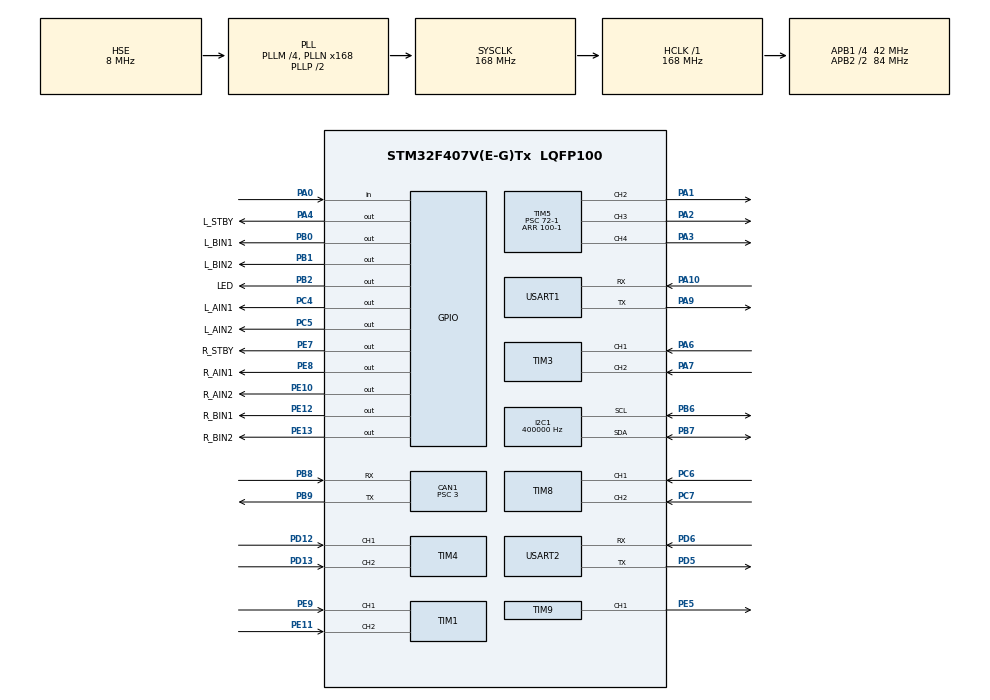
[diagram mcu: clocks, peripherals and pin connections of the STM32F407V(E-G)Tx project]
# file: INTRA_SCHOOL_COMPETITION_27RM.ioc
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CAN1.BS1=CAN_BS1_11TQ
CAN1.BS2=CAN_BS2_2TQ
CAN1.CalculateBaudRate=1000000
CAN1.CalculateTimeBit=1000
CAN1.CalculateTimeQuantum=71.42857142857143
CAN1.Prescaler=3
I2C1.ClockSpeed=400000
I2C1.I2C_Mode=I2C_Fast
I2C1.NoStretchMode=I2C_NOSTRETCH_DISABLE
Mcu.Family=STM32F4
Mcu.Name=STM32F407V(E-G)Tx
Mcu.Package=LQFP100
NVIC.CAN1_RX0_IRQn=true\:0\:0\:false\:false\:true\:true\:true\:true
NVIC.PriorityGroup=NVIC_PRIORITYGROUP_4
NVIC.USART1_IRQn=true\:7\:0\:true\:false\:true\:true\:true\:true
NVIC.USART2_IRQn=true\:6\:0\:true\:false\:true\:true\:true\:true
PA0-WKUP.Signal=GPIO_Input
PA1.Signal=S_TIM5_CH2
PA10.Mode=Asynchronous
PA10.Signal=USART1_RX
PA13.Mode=Serial_Wire
PA13.Signal=SYS_JTMS-SWDIO
PA14.Mode=Serial_Wire
PA14.Signal=SYS_JTCK-SWCLK
PA2.Signal=S_TIM5_CH3
PA3.Signal=S_TIM5_CH4
PA4.GPIO_Label=L_STBY
PA4.GPIO_Speed=GPIO_SPEED_FREQ_MEDIUM
PA4.Signal=GPIO_Output
PA6.Signal=S_TIM3_CH1
PA7.Signal=S_TIM3_CH2
PA9.Mode=Asynchronous
PA9.Signal=USART1_TX
PB0.GPIO_Label=L_BIN1
PB0.GPIO_Speed=GPIO_SPEED_FREQ_MEDIUM
PB0.Signal=GPIO_Output
PB1.GPIO_Label=L_BIN2
PB1.GPIO_Speed=GPIO_SPEED_FREQ_MEDIUM
PB1.Signal=GPIO_Output
PB2.GPIO_Label=LED
PB2.Signal=GPIO_Output
PB6.Mode=I2C
PB6.Signal=I2C1_SCL
PB7.Mode=I2C
PB7.Signal=I2C1_SDA
PB8.Mode=CAN_Activate
PB8.Signal=CAN1_RX
PB9.Mode=CAN_Activate
PB9.Signal=CAN1_TX
PC14-OSC32_IN.Mode=LSE-External-Oscillator
PC14-OSC32_IN.Signal=RCC_OSC32_IN
PC15-OSC32_OUT.Mode=LSE-External-Oscillator
PC15-OSC32_OUT.Signal=RCC_OSC32_OUT
PC4.GPIO_Label=L_AIN1
PC4.GPIO_Speed=GPIO_SPEED_FREQ_MEDIUM
PC4.Signal=GPIO_Output
PC5.GPIO_Label=L_AIN2
PC5.GPIO_Speed=GPIO_SPEED_FREQ_MEDIUM
PC5.Signal=GPIO_Output
PC6.Signal=S_TIM8_CH1
PC7.Signal=S_TIM8_CH2
PD12.Signal=S_TIM4_CH1
PD13.Signal=S_TIM4_CH2
PD5.Mode=Asynchronous
PD5.Signal=USART2_TX
PD6.Mode=Asynchronous
PD6.Signal=USART2_RX
PE10.GPIO_Label=R_AIN2
PE10.GPIO_Speed=GPIO_SPEED_FREQ_MEDIUM
PE10.Signal=GPIO_Output
PE11.Signal=S_TIM1_CH2
PE12.GPIO_Label=R_BIN1
PE12.GPIO_Speed=GPIO_SPEED_FREQ_MEDIUM
PE12.Signal=GPIO_Output
PE13.GPIO_Label=R_BIN2
PE13.GPIO_Speed=GPIO_SPEED_FREQ_MEDIUM
PE13.Signal=GPIO_Output
PE5.Signal=S_TIM9_CH1
PE7.GPIO_Label=R_STBY
PE7.GPIO_Speed=GPIO_SPEED_FREQ_MEDIUM
PE7.Signal=GPIO_Output
PE8.GPIO_Label=R_AIN1
PE8.GPIO_PuPd=GPIO_NOPULL
PE8.GPIO_Speed=GPIO_SPEED_FREQ_MEDIUM
PE8.Signal=GPIO_Output
PE9.Signal=S_TIM1_CH1
PH0-OSC_IN.Mode=HSE-External-Oscillator
PH0-OSC_IN.Signal=RCC_OSC_IN
PH1-OSC_OUT.Mode=HSE-External-Oscillator
PH1-OSC_OUT.Signal=RCC_OSC_OUT
ProjectManager.HeapSize=0x200
ProjectManager.StackSize=0x400
ProjectManager.TargetToolchain=CMake
RCC.48MHZClocksFreq_Value=84000000
RCC.AHBFreq_Value=168000000
RCC.APB1CLKDivider=RCC_HCLK_DIV4
RCC.APB1Freq_Value=42000000
RCC.APB1TimFreq_Value=84000000
RCC.APB2CLKDivider=RCC_HCLK_DIV2
RCC.APB2Freq_Value=84000000
RCC.APB2TimFreq_Value=168000000
RCC.CortexFreq_Value=168000000
RCC.HCLKFreq_Value=168000000
RCC.HSE_VALUE=8000000
RCC.HSI_VALUE=16000000
RCC.PLLM=4
RCC.PLLN=168
RCC.PLLSourceVirtual=RCC_PLLSOURCE_HSE
RCC.SYSCLKFreq_VALUE=168000000
RCC.SYSCLKSource=RCC_SYSCLKSOURCE_PLLCLK
RCC.VCOOutputFreq_Value=336000000
SH.S_TIM1_CH1.0=TIM1_CH1,Encoder_Interface
SH.S_TIM1_CH2.0=TIM1_CH2,Encoder_Interface
SH.S_TIM3_CH1.0=TIM3_CH1,Encoder_Interface
SH.S_TIM3_CH2.0=TIM3_CH2,Encoder_Interface
SH.S_TIM4_CH1.0=TIM4_CH1,Encoder_Interface
SH.S_TIM4_CH2.0=TIM4_CH2,Encoder_Interface
SH.S_TIM5_CH2.0=TIM5_CH2,PWM Generation2 CH2
SH.S_TIM5_CH3.0=TIM5_CH3,PWM Generation3 CH3
SH.S_TIM5_CH4.0=TIM5_CH4,PWM Generation4 CH4
SH.S_TIM8_CH1.0=TIM8_CH1,Encoder_Interface
SH.S_TIM8_CH2.0=TIM8_CH2,Encoder_Interface
SH.S_TIM9_CH1.0=TIM9_CH1,PWM Generation1 CH1
TIM1.EncoderMode=TIM_ENCODERMODE_TI12
TIM3.EncoderMode=TIM_ENCODERMODE_TI12
TIM4.EncoderMode=TIM_ENCODERMODE_TI12
TIM5.Channel-PWM\ Generation2\ CH2=TIM_CHANNEL_2
TIM5.Channel-PWM\ Generation3\ CH3=TIM_CHANNEL_3
TIM5.Channel-PWM\ Generation4\ CH4=TIM_CHANNEL_4
TIM5.Period=100-1
TIM5.Prescaler=72-1
TIM8.EncoderMode=TIM_ENCODERMODE_TI12
TIM9.Channel-PWM\ Generation1\ CH1=TIM_CHANNEL_1
TIM9.Period=100-1
TIM9.Prescaler=168-1
USART1.VirtualMode=VM_ASYNC
USART2.VirtualMode=VM_ASYNC
VP_TIM5_VS_ClockSourceINT.Mode=Internal
VP_TIM9_VS_ClockSourceINT.Mode=Internal
board=custom

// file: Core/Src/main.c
/* USER CODE BEGIN Header */
/**
  ******************************************************************************
  * @file           : main.c
  * @brief          : Main program body
  ******************************************************************************
  * @attention
  *
  * Copyright (c) 2026 STMicroelectronics.
  * All rights reserved.
  *
  * This software is licensed under terms that can be found in the LICENSE file
  * in the root directory of this software component.
  * If no LICENSE file comes with this software, it is provided AS-IS.
  *
  ******************************************************************************
  */
/* USER CODE END Header */
#include "main.h"
#include "can.h"
#include "i2c.h"
#include "tim.h"
#include "usart.h"
#include "gpio.h"

/* USER CODE BEGIN Includes */
#include "chassis.h"
#include "chassis_config.h"
#include "chassis_demo.h"
#include "chassis_debug.h"
#include "chassis_tune.h"
#include "can_test.h"
#include "can_link.h"
#include "uart_link.h"
/* USER CODE END Includes */

void SystemClock_Config(void);

int main(void)
{

  /* MCU Configuration--------------------------------------------------------*/

  /* Reset of all peripherals, Initializes the Flash interface and the Systick. */
  HAL_Init();

  /* Configure the system clock */
  SystemClock_Config();

  /* Initialize all configured peripherals */
  MX_GPIO_Init();
  MX_TIM1_Init();
  MX_TIM3_Init();
  MX_TIM4_Init();
  MX_USART1_UART_Init();
  MX_I2C1_Init();
  MX_TIM9_Init();
  MX_USART2_UART_Init();
  MX_TIM5_Init();
  MX_TIM8_Init();
  MX_CAN1_Init();
  /* USER CODE BEGIN 2 */
  chassis_init();

  /* 上位机链路：Jetson -> USART2(PD5/PD6) -> 底盘
   * ⚠ 依赖 CubeMX 在 NVIC 里勾选 USART2 global interrupt，否则收不到数据 */
  uart_link_init();

  /* CAN 链路：两个模块都要初始化 CAN1，编译期互斥（见 can_link.c 顶部 #error）
   *   CAN_LINK_ENABLE = 1 -> 正式协议链路（联调期）
   *   CANTEST_ENABLE  = 1 -> can_test 调试工具（排障期）
   * 两个都关 = 整定期，CAN 完全不参与，不会污染 USART1 调参数据 */
#if CAN_LINK_ENABLE
  can_link_init();
#endif
#if CANTEST_ENABLE
  can_test_init();
#endif

#if CHASSIS_TUNE_ENABLE
  /* 整定模式：由 chassis_tune 接管四轮并回传实验数据 */
  chassis_tune_init();
#else
  // chassis_demo_init();
#endif

  /* USER CODE END 2 */

  /* Infinite loop */
  /* USER CODE BEGIN WHILE */
  while (1)
  {
    /* 1kHz 控制循环：chassis_poll() 内部检测 HAL tick，到点才执行一次 */
    chassis_poll();
    /* 上位机链路：收命令帧 -> 底盘；看门狗；100 Hz 回传反馈帧 */
    uart_link_poll();
#if CHASSIS_TUNE_ENABLE
    chassis_tune_poll();
#else
    chassis_debug_poll();
#if CHASSIS_DEMO_ENABLE
    chassis_demo_poll();
#endif
#endif
    /* USER CODE END WHILE */

    /* USER CODE BEGIN 3 */
    /* CAN 链路（编译期开关见 can_link_config.h / can_test_config.h） */
#if CAN_LINK_ENABLE
    can_link_poll();    /* 收命令 + 看门狗 + 100 Hz 反馈 */
#endif
#if CANTEST_ENABLE
    can_test_poll();    /* CAN 测试：心跳 + 点灯 + 回显 */
#endif
  }
  /* USER CODE END 3 */
}

void SystemClock_Config(void)
{
  RCC_OscInitTypeDef RCC_OscInitStruct = {0};
  RCC_ClkInitTypeDef RCC_ClkInitStruct = {0};

  /** Configure the main internal regulator output voltage
  */
  __HAL_RCC_PWR_CLK_ENABLE();
  __HAL_PWR_VOLTAGESCALING_CONFIG(PWR_REGULATOR_VOLTAGE_SCALE1);

  /** Initializes the RCC Oscillators according to the specified parameters
  * in the RCC_OscInitTypeDef structure.
  */
  RCC_OscInitStruct.OscillatorType = RCC_OSCILLATORTYPE_HSE;
  RCC_OscInitStruct.HSEState = RCC_HSE_ON;
  RCC_OscInitStruct.PLL.PLLState = RCC_PLL_ON;
  RCC_OscInitStruct.PLL.PLLSource = RCC_PLLSOURCE_HSE;
  RCC_OscInitStruct.PLL.PLLM = 4;
  RCC_OscInitStruct.PLL.PLLN = 168;
  RCC_OscInitStruct.PLL.PLLP = RCC_PLLP_DIV2;
  RCC_OscInitStruct.PLL.PLLQ = 4;
  if (HAL_RCC_OscConfig(&RCC_OscInitStruct) != HAL_OK)
  {
    Error_Handler();
  }

  /** Initializes the CPU, AHB and APB buses clocks
  */
  RCC_ClkInitStruct.ClockType = RCC_CLOCKTYPE_HCLK|RCC_CLOCKTYPE_SYSCLK
                              |RCC_CLOCKTYPE_PCLK1|RCC_CLOCKTYPE_PCLK2;
  RCC_ClkInitStruct.SYSCLKSource = RCC_SYSCLKSOURCE_PLLCLK;
  RCC_ClkInitStruct.AHBCLKDivider = RCC_SYSCLK_DIV1;
  RCC_ClkInitStruct.APB1CLKDivider = RCC_HCLK_DIV4;
  RCC_ClkInitStruct.APB2CLKDivider = RCC_HCLK_DIV2;

  if (HAL_RCC_ClockConfig(&RCC_ClkInitStruct, FLASH_LATENCY_5) != HAL_OK)
  {
    Error_Handler();
  }
}

void Error_Handler(void)
{
  __disable_irq();
  while (1)
  {
  }
}
